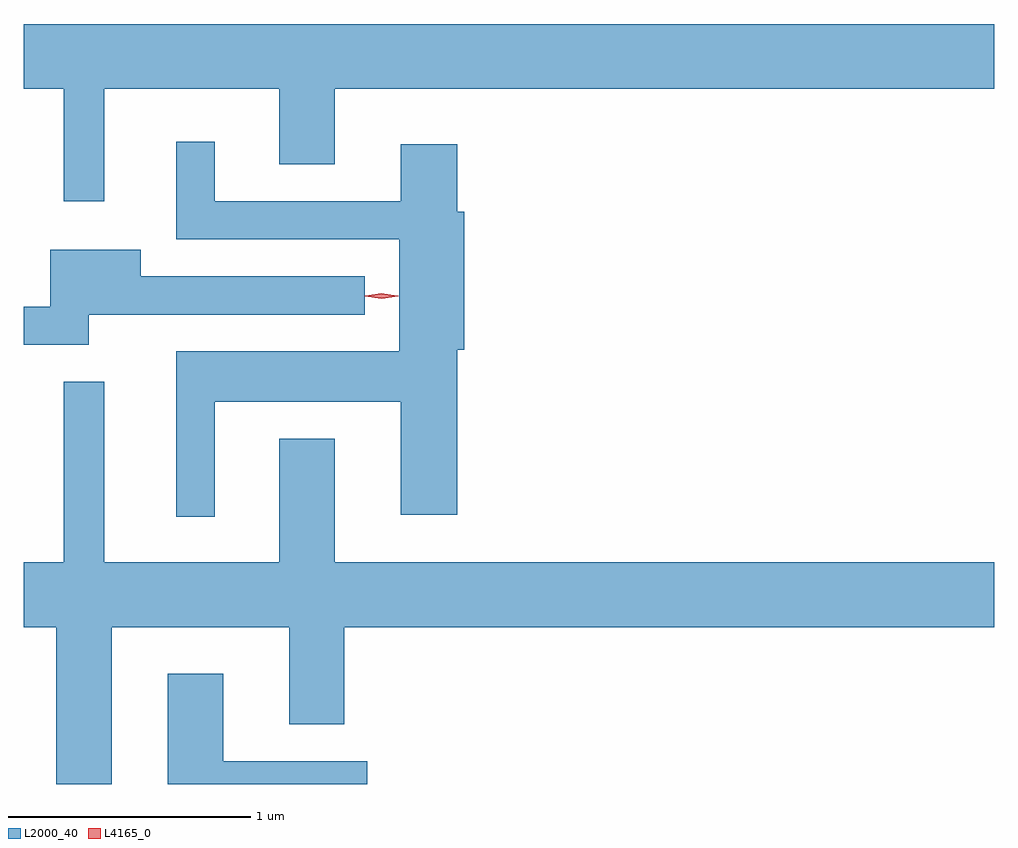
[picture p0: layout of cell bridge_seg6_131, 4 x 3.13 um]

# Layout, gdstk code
import gdstk
lib = gdstk.Library(unit=1e-6, precision=1e-09)
def P(c, l, *ps):  # polygons
    for p in ps: c.add(gdstk.Polygon(p, *l))
L2000_40 = (2000, 40)
L4165_0 = (4165, 0)

bridge_seg6_131 = lib.new_cell('bridge_seg6_131')
P(bridge_seg6_131, L2000_40, [(1165.679,1618.856),(1166.401,1618.856),(1166.401,1618.546),(1166.629,1618.546),(1166.629,1618.856),(1169.348,1618.856),(1169.348,1619.124),(1165.348,1619.124),(1165.348,1618.856),(1165.511,1618.856),(1165.511,1618.393),(1165.679,1618.393)],
  [(1166.134,1617.566),(1166.901,1617.566),(1166.901,1617.101),(1167.134,1617.101),(1167.134,1617.781),(1167.164,1617.781),(1167.164,1618.349),(1167.134,1618.349),(1167.134,1618.629),(1166.901,1618.629),(1166.901,1618.394),(1166.134,1618.394),(1166.134,1618.638),(1165.976,1618.638),(1165.976,1618.236),(1166.896,1618.236),(1166.896,1617.774),(1165.976,1617.774),(1165.976,1617.093),(1166.134,1617.093)],
  [(1165.614,1617.926),(1166.753,1617.926),(1166.753,1618.084),(1165.829,1618.084),(1165.829,1618.194),(1165.456,1618.194),(1165.456,1617.959),(1165.348,1617.959),(1165.348,1617.801),(1165.614,1617.801)],
  [(1165.709,1616.636),(1166.441,1616.636),(1166.441,1616.236),(1166.669,1616.236),(1166.669,1616.636),(1169.348,1616.636),(1169.348,1616.904),(1166.629,1616.904),(1166.629,1617.414),(1166.401,1617.414),(1166.401,1616.904),(1165.679,1616.904),(1165.679,1617.648),(1165.511,1617.648),(1165.511,1616.904),(1165.348,1616.904),(1165.348,1616.636),(1165.481,1616.636),(1165.481,1615.99),(1165.709,1615.99)],
  [(1166.764,1616.084),(1166.169,1616.084),(1166.169,1616.444),(1165.941,1616.444),(1165.941,1615.99),(1166.764,1615.99)])
P(bridge_seg6_131, L4165_0, [(1166.823,1617.992),(1166.754,1618.002),(1166.754,1618.002),(1166.754,1618.003),(1166.823,1618.012),(1166.891,1618.003),(1166.892,1618.002),(1166.891,1618.002)],
  [(1166.822,1617.993),(1166.757,1618.002),(1166.757,1618.003),(1166.757,1618.003),(1166.822,1618.013),(1166.887,1618.003),(1166.887,1618.003),(1166.887,1618.002)])

lib.write_gds('bridge_seg6_131.gds')
